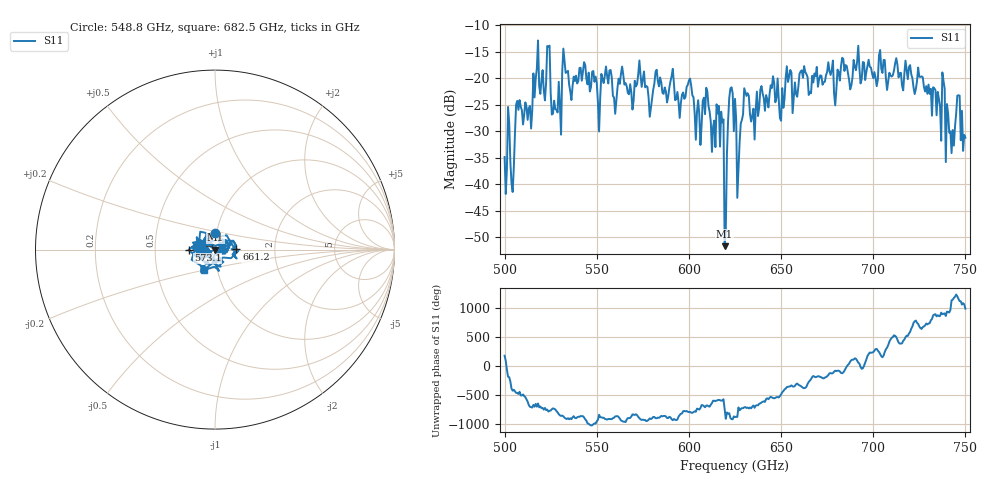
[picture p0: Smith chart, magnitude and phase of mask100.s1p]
!Created with skrf (http://scikit-rf.org).
# GHz S MA R 50.0
!freq magS11 angS11
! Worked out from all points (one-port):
!   401 points, 500 GHz to 750 GHz, reference 50 ohm
!   lowest |S11| = -51.7 dB at 619.4 GHz (marker M1), VSWR 1.01, Z = 50.2 - j0.0773 ohm
!   |S11| at or under -10 dB: start of sweep to end of sweep
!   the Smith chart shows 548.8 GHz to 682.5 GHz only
!   S11 on the Smith chart (normalised r, x): 548.8 GHz: 0.99, +0.18; 573.1 GHz: 0.74, -0.00; 661.2 GHz: 1.27, +0.01; 682.5 GHz: 0.86, -0.20
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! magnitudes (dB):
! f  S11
! 500 GHz  -34.9
! 504.4 GHz  -41.5
! 507.5 GHz  -26.0
! 513.8 GHz  -25.2
! 516.9 GHz  -20.1
! 523.8 GHz  -14.1
! 526.9 GHz  -24.2
! 531.2 GHz  -18.8
! 548.8 GHz  -20.6
! 562.5 GHz  -21.0
! 573.1 GHz  -16.6
! 593.8 GHz  -22.6
! 616.2 GHz  -25.2
! 619.4 GHz  -51.7
! 620.6 GHz  -34.3
! 622.5 GHz  -21.9
! 625 GHz  -23.9
! 627.5 GHz  -32.1
! 631.2 GHz  -23.3
! 634.4 GHz  -27.1
! 656.2 GHz  -26.6
! 661.2 GHz  -18.5
! 682.5 GHz  -17.7
! 687.5 GHz  -22.1
! 718.8 GHz  -20.2
! 742.5 GHz  -34.1
! 746.9 GHz  -23.3
! 750 GHz  -31.2
